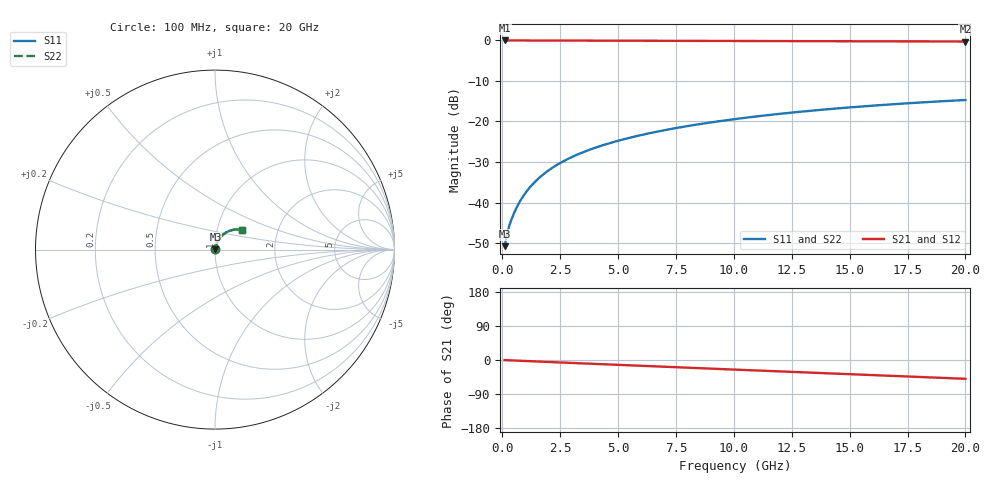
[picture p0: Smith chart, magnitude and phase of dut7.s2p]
! Touchstone file exported from HFSS 2026.1.0
!  File:  C:/ffzhzh/LocalFiles/Ansys_Project_Files/temp_train_BSMRDL_7_1782881831_46784.aedt
!  Generated:  12:58:30 PM Jul  1, 2026
!  Design:  BSMRDL
!  Project:  temp_train_BSMRDL_7_1782881831_46784
! Variables:
!  h_bsmrdl = 5.5um
!  h_ox = 20um
!  h_rdl = 5um
!  h_sub = 80um
!  h_tmrdl = 5um
!  h_tsv = 80um
!  h_via = 3um
!  l_bsmrdl = 861.45um
!  l_sub = 1261.45um
!  l_tmrdl = 200um
!  m_sub = 200um
!  pitch = 38.67um
!  r_tsv = 6um
!  s_tmrdl = 10um
!  w_bsmrdl = 27.12um
!  w_sub = 500um
!  w_tmrdl = 12um
!  x_tsv_center1 = 206um
!  x_tsv_center2 = 1094.57um
!  x_tsv_center3 = 1306.57um
!  x_tsv_center4 = 2195.14um
!  x_tsv_center5 = 2407.14um
!  x_tsv_center6 = 3295.71um
# GHz S MA R 50.000000
! Terminal data exported
! Port[1] = BSM_RDL1_1_T1
! Port[2] = BSM_RDL1_1_T2
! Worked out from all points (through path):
!   200 points, 100 MHz to 20 GHz, reference 50 ohm
!   highest |S21| = -0.02 dB at 100 MHz (marker M1); lowest = -0.3 dB at 20 GHz (marker M2)
!   group delay of S21, straight-line fit = 6.87 ps
!   lowest |S11| = -50.8 dB at 100 MHz (marker M3), VSWR 1.01, Z = 50.2 + j0.167 ohm
!   |S11| at or under -10 dB: start of sweep to end of sweep
!   |S22| runs from -50.8 to -14.7 dB; largest |S21 - S12| = 3.7e-14
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0.1  0.002893 35.0  0.9976 -0.3  0.9976 -0.3  0.002893 35.0
! Gamma 0 0 0 0
! Port Impedance 50 0 50 0
0.2  0.004051 47.9  0.9973 -0.6  0.9973 -0.6  0.004051 47.9
0.3  0.005145 54.7  0.9971 -0.8  0.9971 -0.8  0.005144 54.7
0.4  0.006225 59.6  0.997 -1.1  0.997 -1.1  0.006224 59.6
0.5  0.007325 63.2  0.9969 -1.3  0.9969 -1.3  0.007324 63.2
0.6  0.00845 65.9  0.9968 -1.6  0.9968 -1.6  0.00845 65.9
0.8  0.01076 69.6  0.9966 -2.1  0.9966 -2.1  0.01076 69.6
1  0.01311 71.8  0.9964 -2.6  0.9964 -2.6  0.01311 71.8
1.2  0.01548 73.1  0.9962 -3.1  0.9962 -3.1  0.01548 73.1
1.4  0.01786 73.8  0.996 -3.7  0.996 -3.7  0.01786 73.8
1.7  0.02141 74.4  0.9957 -4.4  0.9957 -4.4  0.02141 74.4
2.2  0.02725 74.3  0.995 -5.7  0.995 -5.7  0.02725 74.4
2.8  0.03409 73.6  0.994 -7.3  0.994 -7.3  0.03409 73.6
3.5  0.04184 72.4  0.9929 -9.0  0.9929 -9.0  0.04184 72.5
4.2  0.04937 71.1  0.9918 -10.8  0.9918 -10.8  0.04937 71.1
5  0.05776 69.5  0.9906 -12.8  0.9906 -12.8  0.05776 69.5
6.8  0.07597 65.7  0.9879 -17.3  0.9879 -17.3  0.07597 65.8
8.3  0.09056 62.5  0.9857 -21.0  0.9857 -21.0  0.09056 62.6
10.1  0.1074 58.6  0.983 -25.5  0.983 -25.5  0.1074 58.6
13.4  0.1361 51.2  0.9779 -33.6  0.9779 -33.6  0.1361 51.2
16.7  0.1618 43.7  0.9729 -41.6  0.9729 -41.6  0.1618 43.7
20  0.1839 36.1  0.968 -49.6  0.968 -49.6  0.1839 36.2
